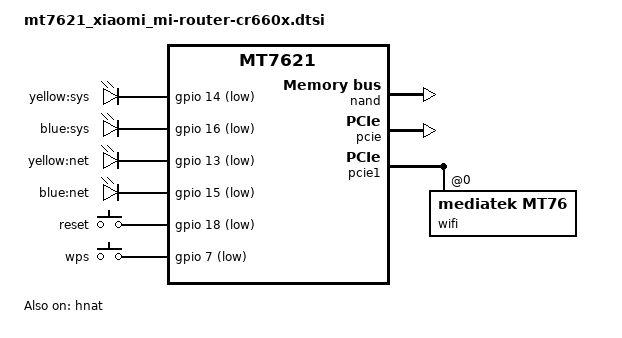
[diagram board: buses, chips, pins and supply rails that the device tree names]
// SPDX-License-Identifier: GPL-2.0-or-later OR MIT

#include "mt7621.dtsi"

#include <dt-bindings/gpio/gpio.h>
#include <dt-bindings/input/input.h>

/ {
	aliases {
		led-boot = &led_sys_yellow;
		led-failsafe = &led_sys_yellow;
		led-running = &led_sys_blue;
		led-upgrade = &led_sys_yellow;
		label-mac-device = &gmac0;
	};

	chosen {
		bootargs = "console=ttyS0,115200n8";
	};

	leds {
		compatible = "gpio-leds";

		led_sys_yellow: sys_yellow {
			label = "yellow:sys";
			gpios = <&gpio 14 GPIO_ACTIVE_LOW>;
		};

		led_sys_blue: sys_blue {
			label = "blue:sys";
			gpios = <&gpio 16 GPIO_ACTIVE_LOW>;
		};

		net_yellow {
			label = "yellow:net";
			gpios = <&gpio 13 GPIO_ACTIVE_LOW>;
		};

		net_blue {
			label = "blue:net";
			gpios = <&gpio 15 GPIO_ACTIVE_LOW>;
		};
	};

	keys {
		compatible = "gpio-keys";

		reset {
			label = "reset";
			gpios = <&gpio 18 GPIO_ACTIVE_LOW>;
			linux,code = <KEY_RESTART>;
		};

		wps {
			label = "wps";
			gpios = <&gpio 7 GPIO_ACTIVE_LOW>;
			linux,code = <KEY_WPS_BUTTON>;
		};
	};
};

&nand {
	status = "okay";

	partitions {
		compatible = "fixed-partitions";
		#address-cells = <1>;
		#size-cells = <1>;

		partition@0 {
			label = "Bootloader";
			reg = <0x0 0x80000>;
			read-only;
		};

		partition@80000 {
			label = "Nvram";
			reg = <0x80000 0x40000>;
			read-only;
		};

		partition@c0000 {
			label = "Bdata";
			reg = <0xc0000 0x40000>;
			read-only;
		};

		factory: partition@100000 {
			label = "Factory";
			reg = <0x100000 0x80000>;
			read-only;
		};

		partition@180000 {
			label = "crash";
			reg = <0x180000 0x40000>;
			read-only;
		};

		partition@1c0000 {
			label = "crash_log";
			reg = <0x1c0000 0x40000>;
			read-only;
		};

		/* "kernel" and "ubi" partition is the result of
		 * squashing next consecutive stock partitions:
		 * 1. firmware  0x0200000 - 0x2000000 (Stock firmware 0)
		 * 2. firmware1 0x2000000 - 0x3e00000 (Stock firmware 1)
		 * 3. overlay   0x3e00000 - 0x7000000 (Stock fw Ubi overlay)
		 * 4. obr       0x7000000 - 0x8000000 (Unallocated?)
		 */

		partition@200000 {
			label = "kernel";
			reg = <0x200000 0x400000>;
		};

		partition@600000 {
			label = "ubi";
			reg = <0x600000 0x7980000>;
		};

		/*
		 * Leave 512 KiB for the bad block table
		 */
	};
};

&pcie {
	status = "okay";
};

&pcie1 {
	wifi@0,0 {
		compatible = "mediatek,mt76";
		reg = <0x0000 0 0 0 0>;
		mediatek,mtd-eeprom = <&factory 0x0>;
	};
};

&gmac0 {
	nvmem-cells = <&macaddr_factory_3fff4>;
	nvmem-cell-names = "mac-address";
};

&gmac1 {
	nvmem-cells = <&macaddr_factory_3fffa>;
	nvmem-cell-names = "mac-address";
};

&gsw {
	mediatek,mdio = <&mdio>;
	mediatek,portmap = "llllw";
	mediatek,mcm;
	mt7530,direct-phy-access;

	resets = <&rstctrl 2>;
	reset-names = "mcm";

	port5: port@5 {
		compatible = "mediatek,mt753x-port";
		reg = <5>;
		phy-mode = "rgmii";
		fixed-link {
			speed = <1000>;
			full-duplex;
		};
	};

	port6: port@6 {
		compatible = "mediatek,mt753x-port";
		reg = <6>;
		phy-mode = "rgmii";
		fixed-link {
			speed = <1000>;
			full-duplex;
		};
	};

	mdio-bus {
		#address-cells = <1>;
		#size-cells = <0>;
	};
};


&switch0 {
	/* must delete compatible property */
	/delete-property/ compatible;
};

&hnat {
        mtketh-wan = "eth1";
        mtketh-ppd = "eth0";
        mtketh-lan = "eth0";
	ext-devices = "wlan0","wlan1","rax0","ra0", "rai0","apclii0","apclix0", "apcli0";
        mtketh-max-gmac = <2>;
        status = "okay";
};


&state_default {
	gpio {
		groups = "jtag", "uart3", "wdt";
		function = "gpio";
	};
};

&factory {
	compatible = "nvmem-cells";
	#address-cells = <1>;
	#size-cells = <1>;

	macaddr_factory_3fff4: macaddr@3fff4 {
		reg = <0x3fff4 0x6>;
	};

	macaddr_factory_3fffa: macaddr@3fffa {
		reg = <0x3fffa 0x6>;
	};
};
